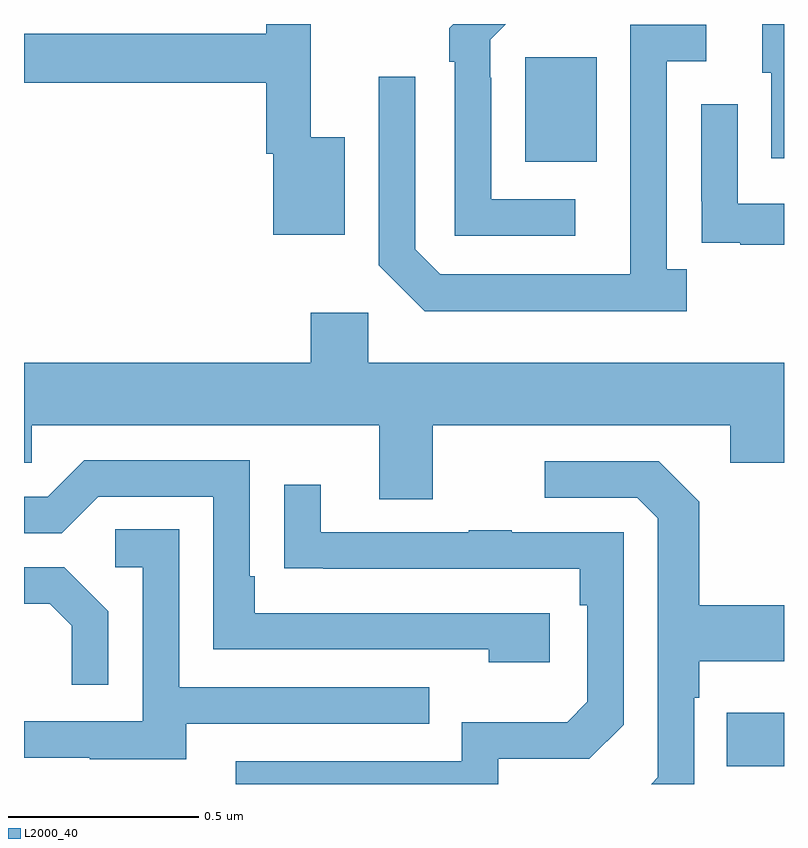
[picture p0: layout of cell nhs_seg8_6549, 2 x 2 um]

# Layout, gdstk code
import gdstk
lib = gdstk.Library(unit=1e-6, precision=1e-09)
def R(c, l, rs):  # rectangles x0, y0, x1, y1
    for r in rs: c.add(gdstk.rectangle(r[:2], r[2:], *l))
def P(c, l, *ps):  # polygons
    for p in ps: c.add(gdstk.Polygon(p, *l))
L2000_40 = (2000, 40)

nhs_seg8_6549 = lib.new_cell('nhs_seg8_6549')
R(nhs_seg8_6549, L2000_40, [(199.849,1104.947,200,1105.087), (199.319,1106.537,199.507,1106.812)])
P(nhs_seg8_6549, L2000_40, [(200,1106.9),(199.943,1106.9),(199.943,1106.772),(199.967,1106.772),(199.967,1106.547),(200,1106.547)],
  [(199.45,1106.439),(199.23,1106.439),(199.23,1106.759),(199.227,1106.759),(199.227,1106.859),(199.268,1106.9),(199.13,1106.9),(199.119,1106.889),(199.119,1106.801),(199.134,1106.801),(199.134,1106.343),(199.45,1106.343)],
  [(198.844,1106.602),(198.755,1106.602),(198.755,1106.9),(198.637,1106.9),(198.637,1106.875),(198,1106.875),(198,1106.746),(198.637,1106.746),(198.637,1106.559),(198.656,1106.559),(198.656,1106.345),(198.844,1106.345)],
  [(199.744,1106.254),(199.692,1106.254),(199.692,1106.802),(199.795,1106.802),(199.795,1106.898),(199.596,1106.898),(199.596,1106.441),(199.595,1106.441),(199.595,1106.241),(199.095,1106.241),(199.029,1106.307),(199.029,1106.761),(198.933,1106.761),(198.933,1106.265),(199.054,1106.144),(199.744,1106.144)],
  [(200,1106.427),(199.878,1106.427),(199.878,1106.689),(199.782,1106.689),(199.782,1106.434),(199.783,1106.434),(199.783,1106.325),(199.885,1106.325),(199.885,1106.319),(200,1106.319)],
  [(199.075,1105.844),(199.859,1105.844),(199.859,1105.745),(200,1105.745),(200,1106.008),(198.906,1106.008),(198.906,1106.14),(198.755,1106.14),(198.755,1106.008),(198,1106.008),(198,1105.746),(198.021,1105.746),(198.021,1105.844),(198.935,1105.844),(198.935,1105.65),(199.075,1105.65)],
  [(199.384,1105.35),(198.607,1105.35),(198.607,1105.447),(198.594,1105.447),(198.594,1105.752),(198.159,1105.752),(198.063,1105.656),(198,1105.656),(198,1105.56),(198.099,1105.56),(198.195,1105.656),(198.498,1105.656),(198.498,1105.254),(199.223,1105.254),(199.223,1105.22),(199.384,1105.22)],
  [(199.764,1105.127),(199.777,1105.127),(199.777,1105.223),(200,1105.223),(200,1105.371),(199.777,1105.371),(199.777,1105.643),(199.671,1105.749),(199.371,1105.749),(199.371,1105.653),(199.614,1105.653),(199.668,1105.599),(199.668,1104.918),(199.65,1104.9),(199.764,1104.9)],
  [(199.248,1104.966),(199.488,1104.966),(199.578,1105.056),(199.578,1105.563),(199.283,1105.563),(199.283,1105.568),(199.171,1105.568),(199.171,1105.563),(198.781,1105.563),(198.781,1105.687),(198.685,1105.687),(198.685,1105.468),(198.787,1105.468),(198.787,1105.467),(199.462,1105.467),(199.462,1105.37),(199.482,1105.37),(199.482,1105.116),(199.429,1105.063),(199.152,1105.063),(199.152,1104.96),(198.557,1104.96),(198.557,1104.9),(199.248,1104.9)],
  [(198.427,1105.059),(199.067,1105.059),(199.067,1105.155),(198.408,1105.155),(198.408,1105.571),(198.24,1105.571),(198.24,1105.47),(198.312,1105.47),(198.312,1105.065),(198,1105.065),(198,1104.969),(198.173,1104.969),(198.173,1104.965),(198.427,1104.965)],
  [(198.222,1105.354),(198.106,1105.47),(198,1105.47),(198,1105.374),(198.068,1105.374),(198.125,1105.317),(198.125,1105.161),(198.222,1105.161)])

lib.write_gds('nhs_seg8_6549.gds')
